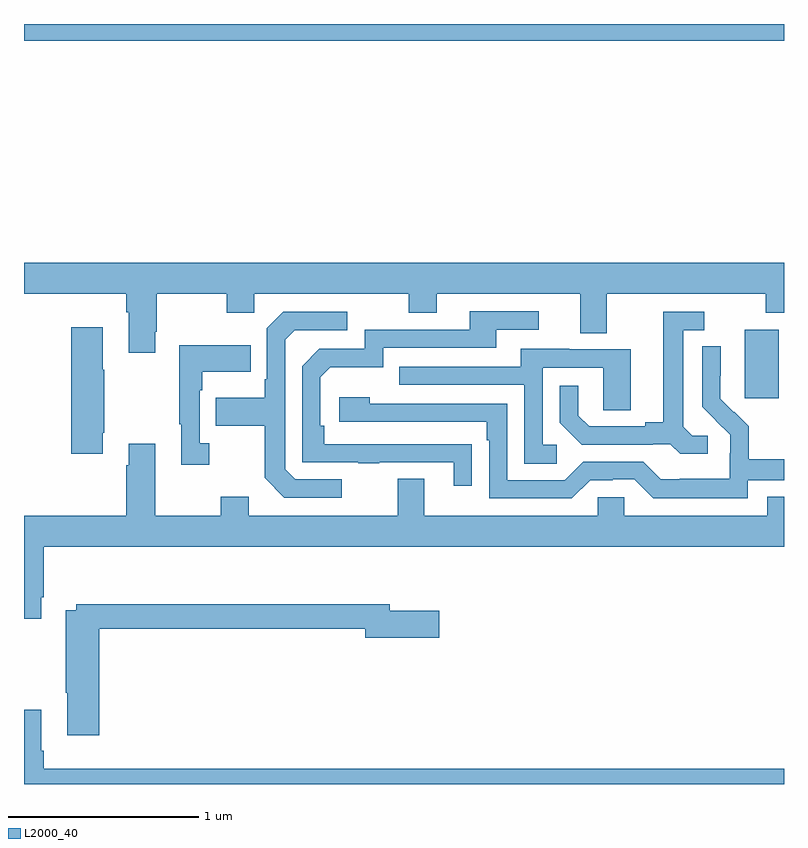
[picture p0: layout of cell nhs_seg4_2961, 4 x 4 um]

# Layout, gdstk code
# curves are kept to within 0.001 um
import gdstk
lib = gdstk.Library(unit=1e-6, precision=1e-09)
def R(c, l, rs):  # rectangles x0, y0, x1, y1
    for r in rs: c.add(gdstk.rectangle(r[:2], r[2:], *l))
def P(c, l, *ps):  # polygons
    for p in ps: c.add(gdstk.Polygon(p, *l))
L2000_40 = (2000, 40)

nhs_seg4_2961 = lib.new_cell('nhs_seg4_2961')
R(nhs_seg4_2961, L2000_40, [(270.794,802.929,270.973,803.29), (267,804.812,271,804.9)])
P(nhs_seg4_2961, L2000_40, [(267.691,803.281),(267.699,803.281),(267.699,803.48),(268.066,803.48),(268.066,803.381),(268.212,803.381),(268.212,803.48),(269.026,803.48),(269.026,803.381),(269.173,803.381),(269.173,803.48),(269.927,803.48),(269.927,803.272),(270.067,803.272),(270.067,803.48),(270.904,803.48),(270.904,803.381),(271,803.381),(271,803.644),(267,803.644),(267,803.48),(267.539,803.48),(267.539,803.384),(267.551,803.384),(267.551,803.169),(267.691,803.169)],
  [(269.357,802.688),(268.58,802.689),(268.58,802.786),(268.56,802.786),(268.56,803.04),(268.613,803.093),(268.89,803.093),(268.89,803.196),(269.485,803.196),(269.485,803.292),(269.71,803.292),(269.71,803.388),(269.345,803.388),(269.345,803.292),(268.794,803.292),(268.794,803.19),(268.554,803.19),(268.464,803.1),(268.464,802.593),(268.759,802.593),(268.759,802.588),(268.871,802.588),(268.871,802.593),(269.261,802.593),(269.261,802.47),(269.357,802.47)],
  [(268.672,802.503),(268.428,802.503),(268.374,802.557),(268.374,803.238),(268.425,803.289),(268.702,803.289),(268.702,803.385),(268.365,803.385),(268.278,803.298),(268.278,803.029),(268.266,803.029),(268.266,802.933),(268.009,802.933),(268.009,802.786),(268.266,802.786),(268.266,802.513),(268.371,802.407),(268.672,802.407)],
  [(270.598,802.734),(270.516,802.734),(270.469,802.781),(270.469,803.289),(270.58,803.289),(270.58,803.385),(270.365,803.385),(270.365,802.805),(270.269,802.805),(270.269,802.782),(269.974,802.782),(269.917,802.839),(269.917,802.996),(269.82,802.996),(269.82,802.802),(269.936,802.686),(270.308,802.686),(270.308,802.689),(270.402,802.689),(270.454,802.637),(270.598,802.637)],
  [(267.415,802.75),(267.423,802.75),(267.423,803.081),(267.415,803.081),(267.415,803.305),(267.248,803.305),(267.248,802.638),(267.415,802.638)],
  [(267.976,802.694),(267.924,802.694),(267.924,802.973),(267.937,802.973),(267.937,803.069),(268.193,803.069),(268.193,803.209),(267.816,803.209),(267.816,802.793),(267.827,802.793),(267.827,802.581),(267.976,802.581)],
  [(270.81,802.5),(271,802.5),(271,802.609),(270.815,802.609),(270.815,802.783),(270.738,802.86),(270.735,802.857),(270.665,802.928),(270.666,803.204),(270.57,803.204),(270.57,802.886),(270.716,802.738),(270.716,802.641),(270.714,802.641),(270.714,802.507),(270.451,802.507),(270.451,802.503),(270.351,802.503),(270.258,802.596),(269.943,802.596),(269.847,802.5),(269.544,802.5),(269.544,802.902),(268.82,802.902),(268.82,802.936),(268.659,802.936),(268.659,802.806),(269.435,802.806),(269.435,802.709),(269.448,802.709),(269.448,802.404),(269.883,802.404),(269.979,802.5),(270.098,802.5),(270.098,802.503),(270.213,802.503),(270.313,802.403),(270.81,802.403)],
  [(269.803,802.686),(269.73,802.686),(269.73,803.091),(270.048,803.091),(270.048,802.867),(270.193,802.867),(270.193,803.187),(269.869,803.187),(269.869,803.191),(269.615,803.191),(269.615,803.097),(268.975,803.097),(268.975,803.001),(269.634,803.001),(269.634,802.585),(269.803,802.585)],
  [(267.091,801.883),(267.104,801.883),(267.104,802.148),(271,802.148),(271,802.411),(270.911,802.411),(270.911,802.312),(270.159,802.312),(270.159,802.41),(270.021,802.41),(270.021,802.312),(269.107,802.312),(269.107,802.507),(268.967,802.507),(268.967,802.312),(268.183,802.312),(268.183,802.411),(268.036,802.411),(268.036,802.312),(267.691,802.312),(267.691,802.69),(267.551,802.69),(267.551,802.577),(267.539,802.577),(267.539,802.312),(267,802.312),(267,801.771),(267.091,801.771)],
  [(267.395,801.718),(268.796,801.718),(268.796,801.671),(269.185,801.671),(269.185,801.813),(268.924,801.813),(268.924,801.847),(267.276,801.847),(267.276,801.814),(267.22,801.814),(267.22,801.379),(267.227,801.379),(267.227,801.156),(267.395,801.156)],
  [(271,800.98),(267.104,800.98),(267.104,801.076),(267.091,801.076),(267.091,801.292),(267,801.292),(267,800.9),(271,800.9)])

lib.write_gds('nhs_seg4_2961.gds')
